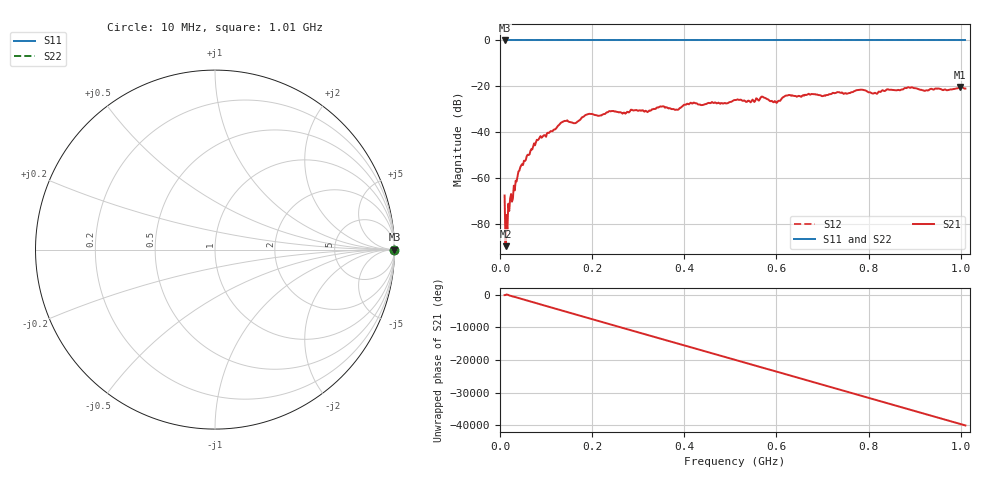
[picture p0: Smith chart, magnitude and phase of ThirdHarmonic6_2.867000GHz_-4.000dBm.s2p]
! 8/17/2025 7:49:23 AM
! C:\ANRITSUVNA\TEMP\TEMP.S2P
! CHANNEL.1
! TR.MEASUREMENT
! RAW.DATA
! RF.CORRECTION.OFF
! AVERAGING.OFF
! IF.BANDWIDTH: 5KHZ
! SWEEPTYPE:  FREQ.SWEEP(Linear)
! Reference Plane Port Info
! PORT:  PORT1  PORT2
! DISTANCE:  0  m  0  m
! TIME:  0  s  0  s
! PHASE.OFFSET:  0  deg.  0  deg.
! LOSS:  0  dB  0  dB
! REF.LOSS:  0  dB  0  dB
! REF.FREQ:  0  Hz  0  Hz
! Power Info
! POWER:  -20  dBm  -20  dBm
! EFF.POWER:  -20  dBm  -20  dBm
! SOURCE.ATTEN:  0  dB  0  dB
! TEST.ATTEN:  0  dB  0  dB
# GHZ S RI R 50.0
! FREQ.GHZ  S11RE  S11IM  S21RE  S21IM  S12RE  S12IM  S22RE  S22IM
!; PortSelection: Port_12
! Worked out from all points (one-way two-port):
!   501 points, 10 MHz to 1.01 GHz, reference 50 ohm
!   highest |S21| = -20.33 dB at 998 MHz (marker M1); lowest = -89.8 dB at 12 MHz (marker M2)
!   lowest |S11| = 0.0 dB at 10 MHz (marker M3)
!   |S11| at or under -10 dB: nowhere
!   |S22| runs from 0.0 to 0.0 dB; largest |S21 - S12| = 1.1
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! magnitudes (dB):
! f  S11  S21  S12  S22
! 10 MHz  0.0  -67.7  0.0  0.0
! 12 MHz  0.0  -89.8  0.0  0.0
! 16 MHz  0.0  -83.2  0.0  0.0
! 22 MHz  0.0  -69.0  0.0  0.0
! 44 MHz  0.0  -55.4  0.0  0.0
! 84 MHz  0.0  -43.1  0.0  0.0
! 136 MHz  0.0  -35.5  0.0  0.0
! 162 MHz  0.0  -36.1  0.0  0.0
! 178 MHz  0.0  -33.6  0.0  0.0
! 344 MHz  0.0  -29.3  0.0  0.0
! 384 MHz  0.0  -30.2  0.0  0.0
! 416 MHz  0.0  -27.5  0.0  0.0
! 510 MHz  0.0  -26.0  0.0  0.0
! 570 MHz  0.0  -24.6  0.0  0.0
! 598 MHz  0.0  -26.7  0.0  0.0
! 624 MHz  0.0  -24.0  0.0  0.0
! 678 MHz  0.0  -23.4  0.0  0.0
! 782 MHz  0.0  -21.5  0.0  0.0
! 814 MHz  0.0  -22.8  0.0  0.0
! 844 MHz  0.0  -21.5  0.0  0.0
! 998 MHz  0.0  -20.3  0.0  0.0
! 1.01 GHz  0.0  -21.0  0.0  0.0
